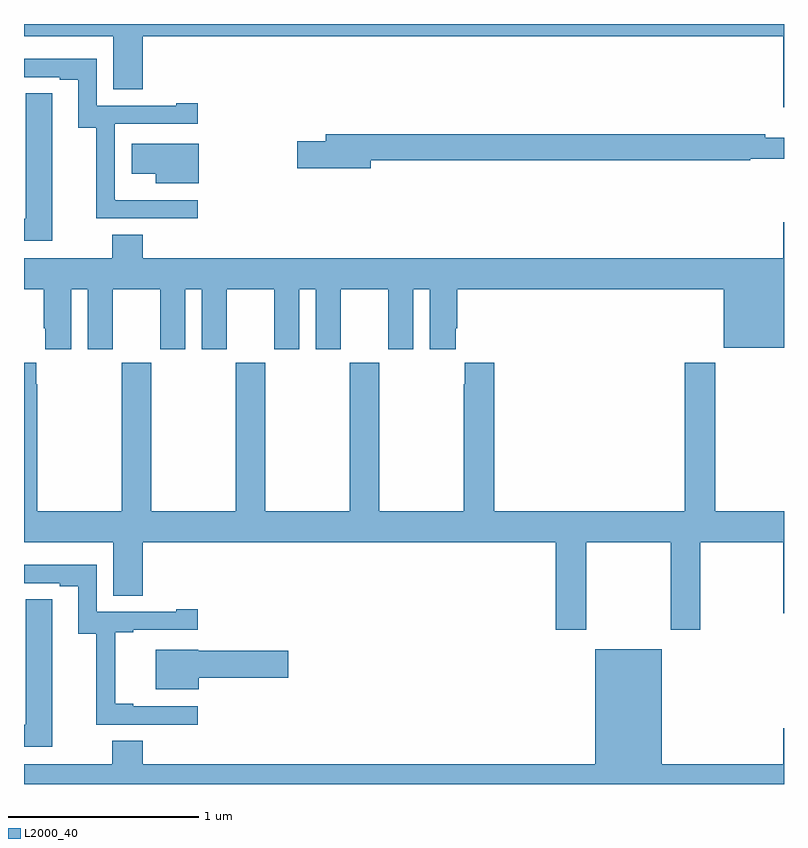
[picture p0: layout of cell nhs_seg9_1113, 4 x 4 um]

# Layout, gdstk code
import gdstk
lib = gdstk.Library(unit=1e-6, precision=1e-09)
def P(c, l, *ps):  # polygons
    for p in ps: c.add(gdstk.Polygon(p, *l))
L2000_40 = (2000, 40)

nhs_seg9_1113 = lib.new_cell('nhs_seg9_1113')
P(nhs_seg9_1113, L2000_40, [(177,1180.5),(173,1180.5),(173,1180.436),(173.471,1180.436),(173.471,1180.156),(173.624,1180.156),(173.624,1180.436),(176.996,1180.436),(176.996,1180.062),(177,1180.062)],
  [(173.914,1179.573),(173.48,1179.573),(173.48,1179.574),(173.478,1179.574),(173.478,1179.975),(173.914,1179.975),(173.914,1180.084),(173.801,1180.084),(173.801,1180.071),(173.382,1180.071),(173.382,1180.317),(173,1180.317),(173,1180.221),(173.189,1180.221),(173.189,1180.206),(173.285,1180.206),(173.285,1179.955),(173.38,1179.955),(173.38,1179.477),(173.914,1179.477)],
  [(173.149,1180.028),(173.148,1180.028),(173.148,1180.136),(173.009,1180.136),(173.009,1179.476),(173,1179.476),(173,1179.36),(173.149,1179.36)],
  [(174.826,1179.784),(176.822,1179.784),(176.822,1179.792),(177,1179.792),(177,1179.901),(176.9,1179.901),(176.9,1179.92),(174.587,1179.92),(174.587,1179.884),(174.438,1179.884),(174.438,1179.742),(174.826,1179.742)],
  [(173.92,1179.871),(173.568,1179.871),(173.568,1179.713),(173.693,1179.713),(173.693,1179.662),(173.92,1179.662)],
  [(173.248,1179.104),(173.336,1179.104),(173.336,1178.787),(173.467,1178.787),(173.467,1179.104),(173.717,1179.104),(173.717,1178.787),(173.848,1178.787),(173.848,1179.104),(173.936,1179.104),(173.936,1178.787),(174.067,1178.787),(174.067,1179.104),(174.317,1179.104),(174.317,1178.787),(174.448,1178.787),(174.448,1179.104),(174.536,1179.104),(174.536,1178.787),(174.667,1178.787),(174.667,1179.104),(174.917,1179.104),(174.917,1178.787),(175.048,1178.787),(175.048,1179.104),(175.136,1179.104),(175.136,1178.787),(175.273,1178.787),(175.273,1178.899),(175.28,1178.899),(175.28,1179.104),(176.684,1179.104),(176.684,1178.795),(177,1178.795),(177,1179.457),(176.996,1179.457),(176.996,1179.268),(173.624,1179.268),(173.624,1179.392),(173.464,1179.392),(173.464,1179.268),(173,1179.268),(173,1179.104),(173.105,1179.104),(173.105,1178.899),(173.111,1178.899),(173.111,1178.787),(173.248,1178.787)],
  [(175.959,1177.772),(176.404,1177.772),(176.404,1177.311),(176.559,1177.311),(176.559,1177.772),(176.996,1177.772),(176.996,1177.398),(177,1177.398),(177,1177.936),(176.637,1177.936),(176.637,1178.716),(176.477,1178.716),(176.477,1177.936),(175.475,1177.936),(175.475,1178.716),(175.319,1178.716),(175.319,1178.603),(175.315,1178.603),(175.315,1177.936),(174.87,1177.936),(174.87,1178.716),(174.715,1178.716),(174.715,1177.936),(174.27,1177.936),(174.27,1178.716),(174.115,1178.716),(174.115,1177.936),(173.67,1177.936),(173.67,1178.716),(173.515,1178.716),(173.515,1177.936),(173.07,1177.936),(173.07,1178.603),(173.065,1178.603),(173.065,1178.716),(173,1178.716),(173,1177.772),(173.471,1177.772),(173.471,1177.492),(173.624,1177.492),(173.624,1177.772),(175.799,1177.772),(175.799,1177.311),(175.959,1177.311)],
  [(173.914,1176.909),(173.575,1176.909),(173.575,1176.922),(173.48,1176.922),(173.48,1177.299),(173.575,1177.299),(173.575,1177.311),(173.914,1177.311),(173.914,1177.42),(173.801,1177.42),(173.801,1177.407),(173.382,1177.407),(173.382,1177.653),(173,1177.653),(173,1177.557),(173.189,1177.557),(173.189,1177.542),(173.285,1177.542),(173.285,1177.291),(173.38,1177.291),(173.38,1176.813),(173.914,1176.813)],
  [(173.149,1177.364),(173.148,1177.364),(173.148,1177.472),(173.009,1177.472),(173.009,1176.812),(173,1176.812),(173,1176.696),(173.149,1176.696)],
  [(177,1176.793),(176.996,1176.793),(176.996,1176.604),(176.356,1176.604),(176.356,1177.21),(176.006,1177.21),(176.006,1176.604),(173.624,1176.604),(173.624,1176.728),(173.464,1176.728),(173.464,1176.604),(173,1176.604),(173,1176.5),(177,1176.5)],
  [(173.92,1177.06),(174.391,1177.06),(174.391,1177.202),(173.916,1177.202),(173.916,1177.207),(173.693,1177.207),(173.693,1176.998),(173.92,1176.998)])

lib.write_gds('nhs_seg9_1113.gds')
